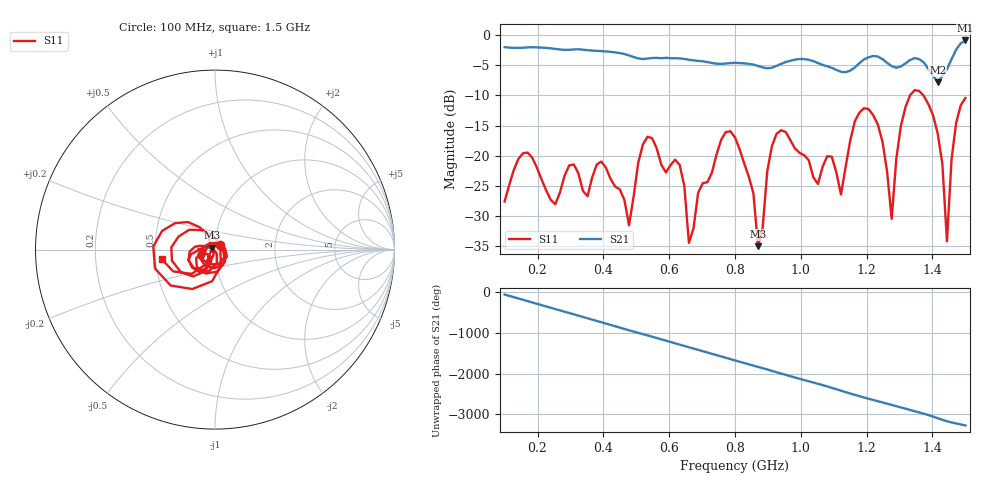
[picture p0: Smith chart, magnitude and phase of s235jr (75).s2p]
! NanoVNA-App
! Date: 2025-09-26 09:45:22
! Start: 100MHz Stop: 1,5GHz Points: 101
! S-Parameter data: F S11 S21 S12 S22
# Hz S RI R 50
!  Frequency  S11_Real  S11_Imag  S21_Real  S21_Imag  S12_Real  S12_Imag  S22_Real  S22_Imag
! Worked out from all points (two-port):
!   101 points, 100 MHz to 1.5 GHz, reference 50 ohm
!   highest |S21| = -0.84 dB at 1.5 GHz (marker M1); lowest = -7.8 dB at 1.416 GHz (marker M2)
!   |S21| within 3 dB of the highest: start of sweep to 507.3 MHz; 536.4 MHz to 634.1 MHz (97.68 MHz wide, 16.7 % of centre)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
!   lowest |S11| = -35.1 dB at 870 MHz (marker M3), VSWR 1.04, Z = 48.6 + j0.971 ohm
!   |S11| at or under -10 dB: start of sweep to 1.332 GHz; 1.372 GHz to end of sweep
!   S12 and S22 are empty: the file has one direction only
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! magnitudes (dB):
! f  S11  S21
! 100 MHz  -27.6  -2.0
! 156 MHz  -19.6  -2.1
! 338 MHz  -25.9  -2.4
! 394 MHz  -21.0  -2.6
! 478 MHz  -31.6  -3.3
! 520 MHz  -18.2  -3.9
! 576 MHz  -21.5  -3.8
! 632 MHz  -21.6  -3.8
! 660 MHz  -34.5  -4.1
! 800 MHz  -17.0  -4.6
! 870 MHz  -35.1  -5.1
! 926 MHz  -16.4  -5.1
! 1.038 GHz  -23.6  -4.3
! 1.122 GHz  -26.5  -6.1
! 1.206 GHz  -12.3  -3.6
! 1.248 GHz  -17.7  -3.9
! 1.276 GHz  -30.5  -5.1
! 1.332 GHz  -10.0  -4.1
! 1.416 GHz  -16.4  -7.8
! 1.444 GHz  -34.3  -5.6
! 1.472 GHz  -14.5  -2.4
! 1.5 GHz  -10.4  -0.8
